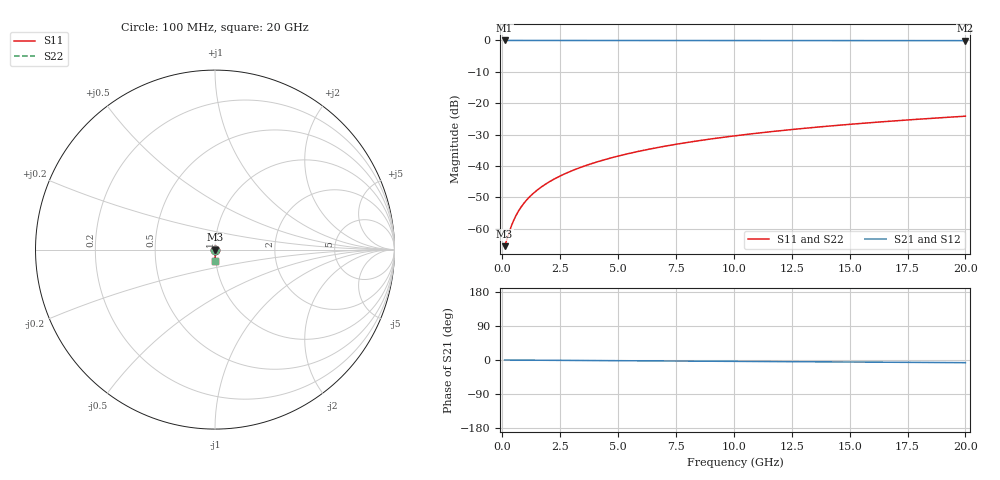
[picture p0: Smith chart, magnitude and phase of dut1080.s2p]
! Touchstone file exported from HFSS 2026.1.0
!  File:  C:/ffzhzh/LocalFiles/Ansys_Project_Files/temp_train_BSMRDL_1080_1783174435_51560.aedt
!  Generated:  10:15:06 PM Jul  4, 2026
!  Design:  BSMRDL
!  Project:  temp_train_BSMRDL_1080_1783174435_51560
! Variables:
!  h_bsmrdl = 4.89um
!  h_ox = 20um
!  h_rdl = 5um
!  h_sub = 80um
!  h_tmrdl = 5um
!  h_tsv = 80um
!  h_via = 3um
!  l_bsmrdl = 100.05um
!  l_sub = 500.05um
!  l_tmrdl = 200um
!  m_sub = 200um
!  pitch = 24.2um
!  r_tsv = 6um
!  s_tmrdl = 10um
!  w_bsmrdl = 22.86um
!  w_sub = 500um
!  w_tmrdl = 12um
!  x_tsv_center1 = 206um
!  x_tsv_center2 = 328.91um
!  x_tsv_center3 = 540.91um
!  x_tsv_center4 = 663.82um
!  x_tsv_center5 = 875.82um
!  x_tsv_center6 = 998.73um
# GHz S MA R 50.000000
! Terminal data exported
! Port[1] = BSM_RDL1_1_T1
! Port[2] = BSM_RDL1_1_T2
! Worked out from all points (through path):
!   200 points, 100 MHz to 20 GHz, reference 50 ohm
!   highest |S21| = 0.00 dB at 100 MHz (marker M1); lowest = -0.1 dB at 20 GHz (marker M2)
!   lowest |S11| = -65.6 dB at 100 MHz (marker M3), VSWR 1.00, Z = 50.1 - j0.0133 ohm
!   |S11| at or under -10 dB: start of sweep to end of sweep
!   |S22| runs from -65.6 to -24.2 dB; largest |S21 - S12| = 3.2e-15
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0.1  0.0005244 -14.7  0.9995 -0.0  0.9995 -0.0  0.0005244 -14.7
! Gamma 0 0 0 0
! Port Impedance 50 0 50 0
0.3  0.0008817 -38.5  0.9993 -0.1  0.9993 -0.1  0.0008817 -38.5
0.4  0.001121 -46.8  0.9992 -0.2  0.9992 -0.2  0.001121 -46.8
0.5  0.001375 -53.0  0.9992 -0.2  0.9992 -0.2  0.001375 -53.0
0.6  0.001637 -57.8  0.9991 -0.2  0.9991 -0.2  0.001637 -57.8
0.7  0.001904 -61.5  0.9991 -0.3  0.9991 -0.3  0.001904 -61.5
0.9  0.002443 -66.8  0.999 -0.3  0.999 -0.3  0.002443 -66.8
1.2  0.003262 -71.8  0.9989 -0.5  0.9989 -0.5  0.003262 -71.7
1.6  0.004366 -75.5  0.9989 -0.6  0.9989 -0.6  0.004366 -75.5
2.1  0.005765 -78.2  0.9987 -0.8  0.9987 -0.8  0.005765 -78.2
2.7  0.007475 -80.0  0.9985 -1.0  0.9985 -1.0  0.007475 -80.0
3.5  0.009806 -81.5  0.9983 -1.3  0.9983 -1.3  0.009806 -81.5
4.2  0.01189 -82.4  0.998 -1.6  0.998 -1.6  0.01189 -82.4
5  0.01432 -83.2  0.9978 -1.8  0.9978 -1.8  0.01432 -83.2
5.9  0.01709 -84.0  0.9974 -2.2  0.9974 -2.2  0.01709 -84.0
6.8  0.01989 -84.7  0.9971 -2.5  0.9971 -2.5  0.01989 -84.7
8.3  0.02461 -85.9  0.9966 -3.0  0.9966 -3.0  0.02461 -85.9
10.1  0.03032 -87.1  0.9961 -3.6  0.9961 -3.6  0.03032 -87.1
11.7  0.03542 -88.0  0.9956 -4.2  0.9956 -4.2  0.03542 -88.0
13.4  0.04084 -89.0  0.995 -4.8  0.995 -4.8  0.04084 -89.0
16.7  0.0514 -90.7  0.994 -5.9  0.994 -5.9  0.0514 -90.7
20  0.06197 -92.2  0.9929 -7.0  0.9929 -7.0  0.06197 -92.2
